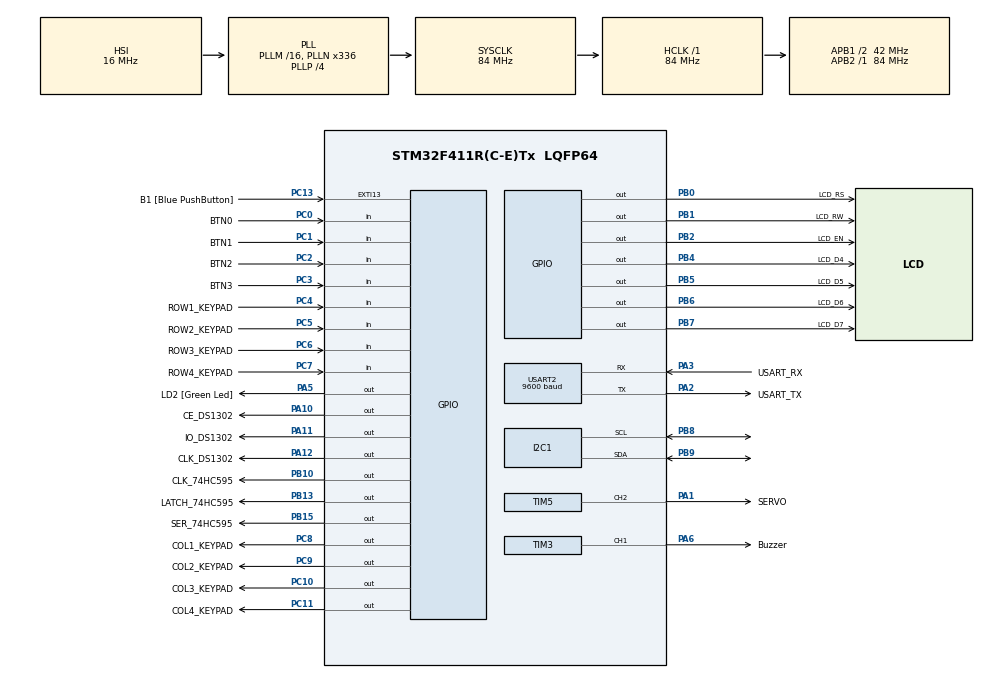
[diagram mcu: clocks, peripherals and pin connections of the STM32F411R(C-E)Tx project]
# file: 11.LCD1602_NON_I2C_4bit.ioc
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FREERTOS.Tasks01=defaultTask,24,128,StartDefaultTask,Default,NULL,Dynamic,NULL,NULL;myTask02,8,128,StartTask02,Default,NULL,Dynamic,NULL,NULL;myTask03,8,128,StartTask03,Default,NULL,Dynamic,NULL,NULL
FREERTOS.configUSE_NEWLIB_REENTRANT=1
Mcu.Family=STM32F4
Mcu.Name=STM32F411R(C-E)Tx
Mcu.Package=LQFP64
NVIC.PriorityGroup=NVIC_PRIORITYGROUP_4
NVIC.TIM1_TRG_COM_TIM11_IRQn=true\:5\:0\:false\:false\:true\:true\:true\:true
NVIC.TIM1_UP_TIM10_IRQn=true\:15\:0\:false\:false\:true\:false\:false\:true
NVIC.TIM3_IRQn=true\:5\:0\:false\:false\:true\:true\:true\:true
NVIC.TIM5_IRQn=true\:5\:0\:false\:false\:true\:true\:true\:true
NVIC.TimeBase=TIM1_UP_TIM10_IRQn
NVIC.TimeBaseIP=TIM10
NVIC.USART2_IRQn=true\:5\:0\:false\:false\:true\:true\:true\:true
PA1.GPIO_Label=SERVO
PA1.Signal=S_TIM5_CH2
PA10.GPIO_Label=CE_DS1302
PA10.Signal=GPIO_Output
PA11.GPIO_Label=IO_DS1302
PA11.Signal=GPIO_Output
PA12.GPIO_Label=CLK_DS1302
PA12.Signal=GPIO_Output
PA13.GPIO_Label=TMS
PA13.Mode=Serial_Wire
PA13.Signal=SYS_JTMS-SWDIO
PA14.GPIO_Label=TCK
PA14.Mode=Serial_Wire
PA14.Signal=SYS_JTCK-SWCLK
PA2.GPIO_Label=USART_TX
PA2.Mode=Asynchronous
PA2.Signal=USART2_TX
PA3.GPIO_Label=USART_RX
PA3.Mode=Asynchronous
PA3.Signal=USART2_RX
PA5.GPIO_Label=LD2 [Green Led]
PA5.Signal=GPIO_Output
PA6.GPIO_Label=Buzzer
PA6.Signal=S_TIM3_CH1
PB0.GPIO_Label=LCD_RS
PB0.Signal=GPIO_Output
PB1.GPIO_Label=LCD_RW
PB1.Signal=GPIO_Output
PB10.GPIO_Label=CLK_74HC595
PB10.Signal=GPIO_Output
PB13.GPIO_Label=LATCH_74HC595
PB13.Signal=GPIO_Output
PB15.GPIO_Label=SER_74HC595
PB15.Signal=GPIO_Output
PB2.GPIO_Label=LCD_EN
PB2.Signal=GPIO_Output
PB4.GPIO_Label=LCD_D4
PB4.Signal=GPIO_Output
PB5.GPIO_Label=LCD_D5
PB5.Signal=GPIO_Output
PB6.GPIO_Label=LCD_D6
PB6.Signal=GPIO_Output
PB7.GPIO_Label=LCD_D7
PB7.Signal=GPIO_Output
PB8.GPIO_Pu=GPIO_PULLUP
PB8.Mode=I2C
PB8.Signal=I2C1_SCL
PB9.GPIO_Pu=GPIO_PULLUP
PB9.Mode=I2C
PB9.Signal=I2C1_SDA
PC0.GPIO_Label=BTN0
PC0.Signal=GPIO_Input
PC1.GPIO_Label=BTN1
PC1.Signal=GPIO_Input
PC10.GPIO_Label=COL3_KEYPAD
PC10.Signal=GPIO_Output
PC11.GPIO_Label=COL4_KEYPAD
PC11.Signal=GPIO_Output
PC13-ANTI_TAMP.GPIO_Label=B1 [Blue PushButton]
PC13-ANTI_TAMP.GPIO_ModeDefaultEXTI=GPIO_MODE_IT_FALLING
PC13-ANTI_TAMP.Signal=GPXTI13
PC14-OSC32_IN.Mode=LSE-External-Oscillator
PC14-OSC32_IN.Signal=RCC_OSC32_IN
PC15-OSC32_OUT.Mode=LSE-External-Oscillator
PC15-OSC32_OUT.Signal=RCC_OSC32_OUT
PC2.GPIO_Label=BTN2
PC2.Signal=GPIO_Input
PC3.GPIO_Label=BTN3
PC3.Signal=GPIO_Input
PC4.GPIO_Label=ROW1_KEYPAD
PC4.GPIO_PuPd=GPIO_PULLUP
PC4.Signal=GPIO_Input
PC5.GPIO_Label=ROW2_KEYPAD
PC5.GPIO_PuPd=GPIO_PULLUP
PC5.Signal=GPIO_Input
PC6.GPIO_Label=ROW3_KEYPAD
PC6.GPIO_PuPd=GPIO_PULLUP
PC6.Signal=GPIO_Input
PC7.GPIO_Label=ROW4_KEYPAD
PC7.GPIO_PuPd=GPIO_PULLUP
PC7.Signal=GPIO_Input
PC8.GPIO_Label=COL1_KEYPAD
PC8.Signal=GPIO_Output
PC9.GPIO_Label=COL2_KEYPAD
PC9.Signal=GPIO_Output
PH0\ -\ OSC_IN.Mode=HSE-External-Clock-Source
PH0\ -\ OSC_IN.Signal=RCC_OSC_IN
PH1\ -\ OSC_OUT.Mode=HSE-External-Clock-Source
PH1\ -\ OSC_OUT.Signal=RCC_OSC_OUT
ProjectManager.HeapSize=0x200
ProjectManager.StackSize=0x400
ProjectManager.TargetToolchain=STM32CubeIDE
RCC.48MHZClocksFreq_Value=84000000
RCC.AHBFreq_Value=84000000
RCC.APB1CLKDivider=RCC_HCLK_DIV2
RCC.APB1Freq_Value=42000000
RCC.APB1TimFreq_Value=84000000
RCC.APB2Freq_Value=84000000
RCC.APB2TimFreq_Value=84000000
RCC.CortexFreq_Value=84000000
RCC.FLatency-AdvancedSettings=FLASH_LATENCY_2
RCC.HCLKFreq_Value=84000000
RCC.HSE_VALUE=8000000
RCC.HSI_VALUE=16000000
RCC.PLLN=336
RCC.PLLP=RCC_PLLP_DIV4
RCC.SYSCLKFreq_VALUE=84000000
RCC.SYSCLKSource=RCC_SYSCLKSOURCE_PLLCLK
RCC.VCOOutputFreq_Value=336000000
SH.S_TIM3_CH1.0=TIM3_CH1,PWM Generation1 CH1
SH.S_TIM5_CH2.0=TIM5_CH2,PWM Generation2 CH2
TIM11.Period=1000-1
TIM11.Prescaler=84-1
TIM2.Prescaler=84-1
TIM3.Channel-PWM\ Generation1\ CH1=TIM_CHANNEL_1
TIM3.Period=400-1
TIM3.Prescaler=52.5-1
TIM3.Pulse-PWM\ Generation1\ CH1=200-1
TIM5.Channel-PWM\ Generation2\ CH2=TIM_CHANNEL_2
TIM5.Period=1000-1
TIM5.Prescaler=1680-1
USART2.BaudRate=9600
USART2.VirtualMode=VM_ASYNC
VP_FREERTOS_VS_CMSIS_V2.Mode=CMSIS_V2
VP_SYS_VS_tim10.Mode=TIM10
VP_TIM11_VS_ClockSourceINT.Mode=Enable_Timer
VP_TIM2_VS_ClockSourceINT.Mode=Internal
VP_TIM3_VS_ClockSourceINT.Mode=Internal
VP_TIM5_VS_ClockSourceINT.Mode=Internal
board=NUCLEO-F411RE

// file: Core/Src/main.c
/* USER CODE BEGIN Header */
/**
  ******************************************************************************
  * @file           : main.c
  * @brief          : Main program body
  ******************************************************************************
  * @attention
  *
  * <h2><center>&copy; Copyright (c) 2025 STMicroelectronics.
  * All rights reserved.</center></h2>
  *
  * This software component is licensed by ST under BSD 3-Clause license,
  * the "License"; You may not use this file except in compliance with the
  * License. You may obtain a copy of the License at:
  *                        opensource.org/licenses/BSD-3-Clause
  *
  ******************************************************************************
  */
/* USER CODE END Header */
#include <stdio.h>
#include "main.h"
#include "cmsis_os.h"

/* USER CODE BEGIN Includes */
#include "extern.h"
#include "bmp180.h"
/* USER CODE END Includes */

I2C_HandleTypeDef hi2c1;

TIM_HandleTypeDef htim2;
TIM_HandleTypeDef htim3;
TIM_HandleTypeDef htim5;
TIM_HandleTypeDef htim11;

UART_HandleTypeDef huart2;

/* Definitions for defaultTask */
osThreadId_t defaultTaskHandle;
const osThreadAttr_t defaultTask_attributes = {
  .name = "defaultTask",
  .stack_size = 128 * 4,
  .priority = (osPriority_t) osPriorityNormal,
};
/* Definitions for myTask02 */
osThreadId_t myTask02Handle;
const osThreadAttr_t myTask02_attributes = {
  .name = "myTask02",
  .stack_size = 128 * 4,
  .priority = (osPriority_t) osPriorityLow,
};
/* Definitions for myTask03 */
osThreadId_t myTask03Handle;
const osThreadAttr_t myTask03_attributes = {
  .name = "myTask03",
  .stack_size = 128 * 4,
  .priority = (osPriority_t) osPriorityLow,
};
/* USER CODE BEGIN PV */
uint8_t rx_data; //uart2 rx byte
volatile int TIM11_1ms_counter = 0;
volatile int TIM11_1ms_counter2 = 0;
volatile int TIM11_keypad_scan_timer = 0;
BMP180_get_cal_param bmp;

/* USER CODE END PV */

void SystemClock_Config(void);
static void MX_GPIO_Init(void);
static void MX_USART2_UART_Init(void);
static void MX_TIM11_Init(void);
static void MX_TIM2_Init(void);
static void MX_I2C1_Init(void);
static void MX_TIM3_Init(void);
static void MX_TIM5_Init(void);
void StartDefaultTask(void *argument);
void StartTask02(void *argument);
void StartTask03(void *argument);

/* USER CODE BEGIN 0 */

#ifdef __GNUC__    // Add for printf
/* With GCC, small printf (option LD Linker->Libraries->Small printf
   set to 'Yes') calls __io_putchar() */
#define PUTCHAR_PROTOTYPE int __io_putchar(int ch)
#else
#define PUTCHAR_PROTOTYPE int fputc(int ch, FILE *f)
#endif /* __GNUC__ */
/**
  * @brief  Retargets the C library printf function to the USART.
  * @param  None
  * @retval None
  */
PUTCHAR_PROTOTYPE   // Add for printf
{
  /* Place your implementation of fputc here */
  /* e.g. write a character to the USART3 and Loop until the end of transmission */
  HAL_UART_Transmit(&huart2, (uint8_t *)&ch, 1, 0xFFFF);

  return ch;
}
/* USER CODE END 0 */

int main(void)
{

  /* MCU Configuration--------------------------------------------------------*/

  /* Reset of all peripherals, Initializes the Flash interface and the Systick. */
  HAL_Init();

  /* Configure the system clock */
  SystemClock_Config();

  /* Initialize all configured peripherals */
  MX_GPIO_Init();
  MX_USART2_UART_Init();
  MX_TIM11_Init();
  MX_TIM2_Init();
  MX_I2C1_Init();
  MX_TIM3_Init();
  MX_TIM5_Init();
  /* USER CODE BEGIN 2 */
  HAL_UART_Receive_IT(&huart2, &rx_data, 1);
  HAL_TIM_Base_Start_IT(&htim11);
  HAL_TIM_Base_Start_IT(&htim2);  //for make delay_us

  lcd_init();
  lcd_set_cursor(0,0);
  char buffer[16];

  if (BMP180_init(&bmp) != HAL_OK)
  {
      Error_Handler();
  }

  while(1)
  {
   	if(BMP180_read_temp(&bmp) == HAL_OK)
   	{
   		lcd_set_cursor(0,0);
   		sprintf(buffer, "Temp = %2.f", (float)bmp.temp/10);
   		lcd_send_string(buffer);
   		lcd_send_8bit(0xDF); // '°' 문자 전송
   		lcd_send_8bit('C');  // 'C' 문자 전송
   		printf("Temp = %1.fC\n", (float)bmp.temp/10);
   	}

   	if(BMP180_read_pres(&bmp) == HAL_OK)
	{
   		lcd_set_cursor(1,0);
   		sprintf(buffer, "Pres = %2.fhPa", (float)bmp.pres/100);
   		lcd_send_string(buffer);
   		printf("Pres = %2.fhPa\n", (float)bmp.pres/100);
	}
   		HAL_Delay(1000);
   }

  //lcd_4bit_test();
  //keypadInit();
  //dotmatrix_main_func();
  //dotmatrix_main_test();
  //led_main();
  //i2c_lcd_main();
  //ds1302_main();
  //buzzer_main();
  //servo_motor_main();

  /* USER CODE END 2 */

  /* Init scheduler */
  osKernelInitialize();

  /* Create the thread(s) */
  /* creation of defaultTask */
  defaultTaskHandle = osThreadNew(StartDefaultTask, NULL, &defaultTask_attributes);

  /* creation of myTask02 */
  myTask02Handle = osThreadNew(StartTask02, NULL, &myTask02_attributes);

  /* creation of myTask03 */
  myTask03Handle = osThreadNew(StartTask03, NULL, &myTask03_attributes);

  /* Start scheduler */
  osKernelStart();

  /* We should never get here as control is now taken by the scheduler */
  /* Infinite loop */
  /* USER CODE BEGIN WHILE */
  while (1)
  {
	  button_led_toggle_test();
    /* USER CODE END WHILE */

  }
}

void SystemClock_Config(void)
{
  RCC_OscInitTypeDef RCC_OscInitStruct = {0};
  RCC_ClkInitTypeDef RCC_ClkInitStruct = {0};

  /** Configure the main internal regulator output voltage
  */
  __HAL_RCC_PWR_CLK_ENABLE();
  __HAL_PWR_VOLTAGESCALING_CONFIG(PWR_REGULATOR_VOLTAGE_SCALE1);
  /** Initializes the RCC Oscillators according to the specified parameters
  * in the RCC_OscInitTypeDef structure.
  */
  RCC_OscInitStruct.OscillatorType = RCC_OSCILLATORTYPE_HSI;
  RCC_OscInitStruct.HSIState = RCC_HSI_ON;
  RCC_OscInitStruct.HSICalibrationValue = RCC_HSICALIBRATION_DEFAULT;
  RCC_OscInitStruct.PLL.PLLState = RCC_PLL_ON;
  RCC_OscInitStruct.PLL.PLLSource = RCC_PLLSOURCE_HSI;
  RCC_OscInitStruct.PLL.PLLM = 16;
  RCC_OscInitStruct.PLL.PLLN = 336;
  RCC_OscInitStruct.PLL.PLLP = RCC_PLLP_DIV4;
  RCC_OscInitStruct.PLL.PLLQ = 4;
  if (HAL_RCC_OscConfig(&RCC_OscInitStruct) != HAL_OK)
  {
    Error_Handler();
  }
  /** Initializes the CPU, AHB and APB buses clocks
  */
  RCC_ClkInitStruct.ClockType = RCC_CLOCKTYPE_HCLK|RCC_CLOCKTYPE_SYSCLK
                              |RCC_CLOCKTYPE_PCLK1|RCC_CLOCKTYPE_PCLK2;
  RCC_ClkInitStruct.SYSCLKSource = RCC_SYSCLKSOURCE_PLLCLK;
  RCC_ClkInitStruct.AHBCLKDivider = RCC_SYSCLK_DIV1;
  RCC_ClkInitStruct.APB1CLKDivider = RCC_HCLK_DIV2;
  RCC_ClkInitStruct.APB2CLKDivider = RCC_HCLK_DIV1;

  if (HAL_RCC_ClockConfig(&RCC_ClkInitStruct, FLASH_LATENCY_2) != HAL_OK)
  {
    Error_Handler();
  }
}

static void MX_I2C1_Init(void)
{

  hi2c1.Instance = I2C1;
  hi2c1.Init.ClockSpeed = 100000;
  hi2c1.Init.DutyCycle = I2C_DUTYCYCLE_2;
  hi2c1.Init.OwnAddress1 = 0;
  hi2c1.Init.AddressingMode = I2C_ADDRESSINGMODE_7BIT;
  hi2c1.Init.DualAddressMode = I2C_DUALADDRESS_DISABLE;
  hi2c1.Init.OwnAddress2 = 0;
  hi2c1.Init.GeneralCallMode = I2C_GENERALCALL_DISABLE;
  hi2c1.Init.NoStretchMode = I2C_NOSTRETCH_DISABLE;
  if (HAL_I2C_Init(&hi2c1) != HAL_OK)
  {
    Error_Handler();
  }

}

static void MX_TIM2_Init(void)
{

  TIM_ClockConfigTypeDef sClockSourceConfig = {0};
  TIM_MasterConfigTypeDef sMasterConfig = {0};

  htim2.Instance = TIM2;
  htim2.Init.Prescaler = 84-1;
  htim2.Init.CounterMode = TIM_COUNTERMODE_UP;
  htim2.Init.Period = 4294967295;
  htim2.Init.ClockDivision = TIM_CLOCKDIVISION_DIV1;
  htim2.Init.AutoReloadPreload = TIM_AUTORELOAD_PRELOAD_DISABLE;
  if (HAL_TIM_Base_Init(&htim2) != HAL_OK)
  {
    Error_Handler();
  }
  sClockSourceConfig.ClockSource = TIM_CLOCKSOURCE_INTERNAL;
  if (HAL_TIM_ConfigClockSource(&htim2, &sClockSourceConfig) != HAL_OK)
  {
    Error_Handler();
  }
  sMasterConfig.MasterOutputTrigger = TIM_TRGO_RESET;
  sMasterConfig.MasterSlaveMode = TIM_MASTERSLAVEMODE_DISABLE;
  if (HAL_TIMEx_MasterConfigSynchronization(&htim2, &sMasterConfig) != HAL_OK)
  {
    Error_Handler();
  }

}

static void MX_TIM3_Init(void)
{

  TIM_ClockConfigTypeDef sClockSourceConfig = {0};
  TIM_MasterConfigTypeDef sMasterConfig = {0};
  TIM_OC_InitTypeDef sConfigOC = {0};

  htim3.Instance = TIM3;
  htim3.Init.Prescaler = 52.5-1;
  htim3.Init.CounterMode = TIM_COUNTERMODE_UP;
  htim3.Init.Period = 400-1;
  htim3.Init.ClockDivision = TIM_CLOCKDIVISION_DIV1;
  htim3.Init.AutoReloadPreload = TIM_AUTORELOAD_PRELOAD_DISABLE;
  if (HAL_TIM_Base_Init(&htim3) != HAL_OK)
  {
    Error_Handler();
  }
  sClockSourceConfig.ClockSource = TIM_CLOCKSOURCE_INTERNAL;
  if (HAL_TIM_ConfigClockSource(&htim3, &sClockSourceConfig) != HAL_OK)
  {
    Error_Handler();
  }
  if (HAL_TIM_PWM_Init(&htim3) != HAL_OK)
  {
    Error_Handler();
  }
  sMasterConfig.MasterOutputTrigger = TIM_TRGO_RESET;
  sMasterConfig.MasterSlaveMode = TIM_MASTERSLAVEMODE_DISABLE;
  if (HAL_TIMEx_MasterConfigSynchronization(&htim3, &sMasterConfig) != HAL_OK)
  {
    Error_Handler();
  }
  sConfigOC.OCMode = TIM_OCMODE_PWM1;
  sConfigOC.Pulse = 200-1;
  sConfigOC.OCPolarity = TIM_OCPOLARITY_HIGH;
  sConfigOC.OCFastMode = TIM_OCFAST_DISABLE;
  if (HAL_TIM_PWM_ConfigChannel(&htim3, &sConfigOC, TIM_CHANNEL_1) != HAL_OK)
  {
    Error_Handler();
  }
  HAL_TIM_MspPostInit(&htim3);

}

static void MX_TIM5_Init(void)
{

  TIM_ClockConfigTypeDef sClockSourceConfig = {0};
  TIM_MasterConfigTypeDef sMasterConfig = {0};
  TIM_OC_InitTypeDef sConfigOC = {0};

  htim5.Instance = TIM5;
  htim5.Init.Prescaler = 1680-1;
  htim5.Init.CounterMode = TIM_COUNTERMODE_UP;
  htim5.Init.Period = 1000-1;
  htim5.Init.ClockDivision = TIM_CLOCKDIVISION_DIV1;
  htim5.Init.AutoReloadPreload = TIM_AUTORELOAD_PRELOAD_DISABLE;
  if (HAL_TIM_Base_Init(&htim5) != HAL_OK)
  {
    Error_Handler();
  }
  sClockSourceConfig.ClockSource = TIM_CLOCKSOURCE_INTERNAL;
  if (HAL_TIM_ConfigClockSource(&htim5, &sClockSourceConfig) != HAL_OK)
  {
    Error_Handler();
  }
  if (HAL_TIM_PWM_Init(&htim5) != HAL_OK)
  {
    Error_Handler();
  }
  sMasterConfig.MasterOutputTrigger = TIM_TRGO_RESET;
  sMasterConfig.MasterSlaveMode = TIM_MASTERSLAVEMODE_DISABLE;
  if (HAL_TIMEx_MasterConfigSynchronization(&htim5, &sMasterConfig) != HAL_OK)
  {
    Error_Handler();
  }
  sConfigOC.OCMode = TIM_OCMODE_PWM1;
  sConfigOC.Pulse = 0;
  sConfigOC.OCPolarity = TIM_OCPOLARITY_HIGH;
  sConfigOC.OCFastMode = TIM_OCFAST_DISABLE;
  if (HAL_TIM_PWM_ConfigChannel(&htim5, &sConfigOC, TIM_CHANNEL_2) != HAL_OK)
  {
    Error_Handler();
  }
  HAL_TIM_MspPostInit(&htim5);

}

static void MX_TIM11_Init(void)
{

  htim11.Instance = TIM11;
  htim11.Init.Prescaler = 84-1;
  htim11.Init.CounterMode = TIM_COUNTERMODE_UP;
  htim11.Init.Period = 1000-1;
  htim11.Init.ClockDivision = TIM_CLOCKDIVISION_DIV1;
  htim11.Init.AutoReloadPreload = TIM_AUTORELOAD_PRELOAD_DISABLE;
  if (HAL_TIM_Base_Init(&htim11) != HAL_OK)
  {
    Error_Handler();
  }

}

static void MX_USART2_UART_Init(void)
{

  huart2.Instance = USART2;
  huart2.Init.BaudRate = 9600;
  huart2.Init.WordLength = UART_WORDLENGTH_8B;
  huart2.Init.StopBits = UART_STOPBITS_1;
  huart2.Init.Parity = UART_PARITY_NONE;
  huart2.Init.Mode = UART_MODE_TX_RX;
  huart2.Init.HwFlowCtl = UART_HWCONTROL_NONE;
  huart2.Init.OverSampling = UART_OVERSAMPLING_16;
  if (HAL_UART_Init(&huart2) != HAL_OK)
  {
    Error_Handler();
  }

}

static void MX_GPIO_Init(void)
{
  GPIO_InitTypeDef GPIO_InitStruct = {0};

  /* GPIO Ports Clock Enable */
  __HAL_RCC_GPIOC_CLK_ENABLE();
  __HAL_RCC_GPIOH_CLK_ENABLE();
  __HAL_RCC_GPIOA_CLK_ENABLE();
  __HAL_RCC_GPIOB_CLK_ENABLE();

  /*Configure GPIO pin Output Level */
  HAL_GPIO_WritePin(GPIOA, LD2_Pin|CE_DS1302_Pin|IO_DS1302_Pin|CLK_DS1302_Pin, GPIO_PIN_RESET);

  /*Configure GPIO pin Output Level */
  HAL_GPIO_WritePin(GPIOB, LCD_RS_Pin|LCD_RW_Pin|LCD_EN_Pin|CLK_74HC595_Pin
                          |LATCH_74HC595_Pin|SER_74HC595_Pin|LCD_D4_Pin|LCD_D5_Pin
                          |LCD_D6_Pin|LCD_D7_Pin, GPIO_PIN_RESET);

  /*Configure GPIO pin Output Level */
  HAL_GPIO_WritePin(GPIOC, COL1_KEYPAD_Pin|COL2_KEYPAD_Pin|COL3_KEYPAD_Pin|COL4_KEYPAD_Pin, GPIO_PIN_RESET);

  /*Configure GPIO pin : B1_Pin */
  GPIO_InitStruct.Pin = B1_Pin;
  GPIO_InitStruct.Mode = GPIO_MODE_IT_FALLING;
  GPIO_InitStruct.Pull = GPIO_NOPULL;
  HAL_GPIO_Init(B1_GPIO_Port, &GPIO_InitStruct);

  /*Configure GPIO pins : BTN0_Pin BTN1_Pin BTN2_Pin BTN3_Pin */
  GPIO_InitStruct.Pin = BTN0_Pin|BTN1_Pin|BTN2_Pin|BTN3_Pin;
  GPIO_InitStruct.Mode = GPIO_MODE_INPUT;
  GPIO_InitStruct.Pull = GPIO_NOPULL;
  HAL_GPIO_Init(GPIOC, &GPIO_InitStruct);

  /*Configure GPIO pins : LD2_Pin CE_DS1302_Pin IO_DS1302_Pin CLK_DS1302_Pin */
  GPIO_InitStruct.Pin = LD2_Pin|CE_DS1302_Pin|IO_DS1302_Pin|CLK_DS1302_Pin;
  GPIO_InitStruct.Mode = GPIO_MODE_OUTPUT_PP;
  GPIO_InitStruct.Pull = GPIO_NOPULL;
  GPIO_InitStruct.Speed = GPIO_SPEED_FREQ_LOW;
  HAL_GPIO_Init(GPIOA, &GPIO_InitStruct);

  /*Configure GPIO pins : ROW1_KEYPAD_Pin ROW2_KEYPAD_Pin ROW3_KEYPAD_Pin ROW4_KEYPAD_Pin */
  GPIO_InitStruct.Pin = ROW1_KEYPAD_Pin|ROW2_KEYPAD_Pin|ROW3_KEYPAD_Pin|ROW4_KEYPAD_Pin;
  GPIO_InitStruct.Mode = GPIO_MODE_INPUT;
  GPIO_InitStruct.Pull = GPIO_PULLUP;
  HAL_GPIO_Init(GPIOC, &GPIO_InitStruct);

  /*Configure GPIO pins : LCD_RS_Pin LCD_RW_Pin LCD_EN_Pin CLK_74HC595_Pin
                           LATCH_74HC595_Pin SER_74HC595_Pin LCD_D4_Pin LCD_D5_Pin
                           LCD_D6_Pin LCD_D7_Pin */
  GPIO_InitStruct.Pin = LCD_RS_Pin|LCD_RW_Pin|LCD_EN_Pin|CLK_74HC595_Pin
                          |LATCH_74HC595_Pin|SER_74HC595_Pin|LCD_D4_Pin|LCD_D5_Pin
                          |LCD_D6_Pin|LCD_D7_Pin;
  GPIO_InitStruct.Mode = GPIO_MODE_OUTPUT_PP;
  GPIO_InitStruct.Pull = GPIO_NOPULL;
  GPIO_InitStruct.Speed = GPIO_SPEED_FREQ_LOW;
  HAL_GPIO_Init(GPIOB, &GPIO_InitStruct);

  /*Configure GPIO pins : COL1_KEYPAD_Pin COL2_KEYPAD_Pin COL3_KEYPAD_Pin COL4_KEYPAD_Pin */
  GPIO_InitStruct.Pin = COL1_KEYPAD_Pin|COL2_KEYPAD_Pin|COL3_KEYPAD_Pin|COL4_KEYPAD_Pin;
  GPIO_InitStruct.Mode = GPIO_MODE_OUTPUT_PP;
  GPIO_InitStruct.Pull = GPIO_NOPULL;
  GPIO_InitStruct.Speed = GPIO_SPEED_FREQ_LOW;
  HAL_GPIO_Init(GPIOC, &GPIO_InitStruct);

}

void StartDefaultTask(void *argument)
{
  /* USER CODE BEGIN 5 */
  /* Infinite loop */
  for(;;)
  {
    HAL_GPIO_TogglePin(GPIOA, GPIO_PIN_5);
    osDelay(50);
  }
  /* USER CODE END 5 */
}

void StartTask02(void *argument)
{
  /* USER CODE BEGIN StartTask02 */
  /* Infinite loop */
  for(;;)
  {
	button_led_toggle_test();
    osDelay(1);
  }
  /* USER CODE END StartTask02 */
}

void StartTask03(void *argument)
{
  for(;;)
  {
	  osDelay(1);
  }
}

void HAL_TIM_PeriodElapsedCallback(TIM_HandleTypeDef *htim)
{
  if (htim->Instance == TIM10) {
    HAL_IncTick();
  }
  /* USER CODE BEGIN Callback 1 */
  if (htim->Instance == TIM11) {
	  TIM11_1ms_counter++;
	  TIM11_1ms_counter2++;
	  TIM11_keypad_scan_timer++;
	  if(TIM11_keypad_scan_timer > 60)
	  {
		  unsigned char key_value;

		  TIM11_keypad_scan_timer = 0;
		  key_value = keypadScan();
		  if(key_value)
		  {
			  insert_queue(key_value);
		  }
	  }
  }
  /* USER CODE END Callback 1 */
}

void Error_Handler(void)
{
  __disable_irq();
  while (1)
  {
  }
}

/************************ (C) COPYRIGHT STMicroelectronics *****END OF FILE****/
